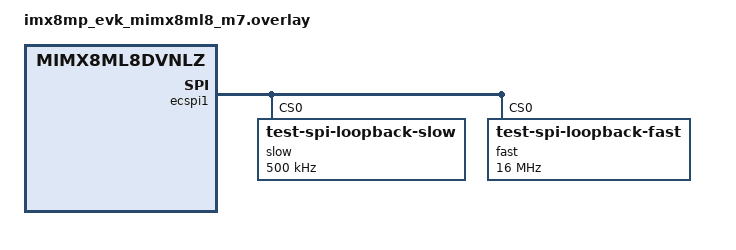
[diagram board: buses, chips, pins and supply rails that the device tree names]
/*
 * Copyright (c) 2024 Basalte bv
 *
 * SPDX-License-Identifier: Apache-2.0
 */

#include <nxp/nxp_imx/mimx8ml8dvnlz-pinctrl.dtsi>

&pinctrl {
	ecspi1_default: ecspi1_default {
		group1 {
			pinmux = <&iomuxc_ecspi1_miso_ecspi_miso_ecspi1_miso>,
				 <&iomuxc_ecspi1_mosi_ecspi_mosi_ecspi1_mosi>,
				 <&iomuxc_ecspi1_sclk_ecspi_sclk_ecspi1_sclk>;
			slew-rate = "fast";
			drive-strength = "x6";
		};
		group2 {
			pinmux = <&iomuxc_ecspi1_ss0_ecspi_ss_ecspi1_ss0>;
			slew-rate = "fast";
			drive-strength = "x6";
			bias-pull-up;
		};
	};
};

&ecspi1 {
	status = "okay";
	pinctrl-0 = <&ecspi1_default>;
	pinctrl-names = "default";

	slow@0 {
		compatible = "test-spi-loopback-slow";
		reg = <0>;
		spi-max-frequency = <500000>;
	};
	fast@0 {
		compatible = "test-spi-loopback-fast";
		reg = <0>;
		spi-max-frequency = <16000000>;
	};
};
